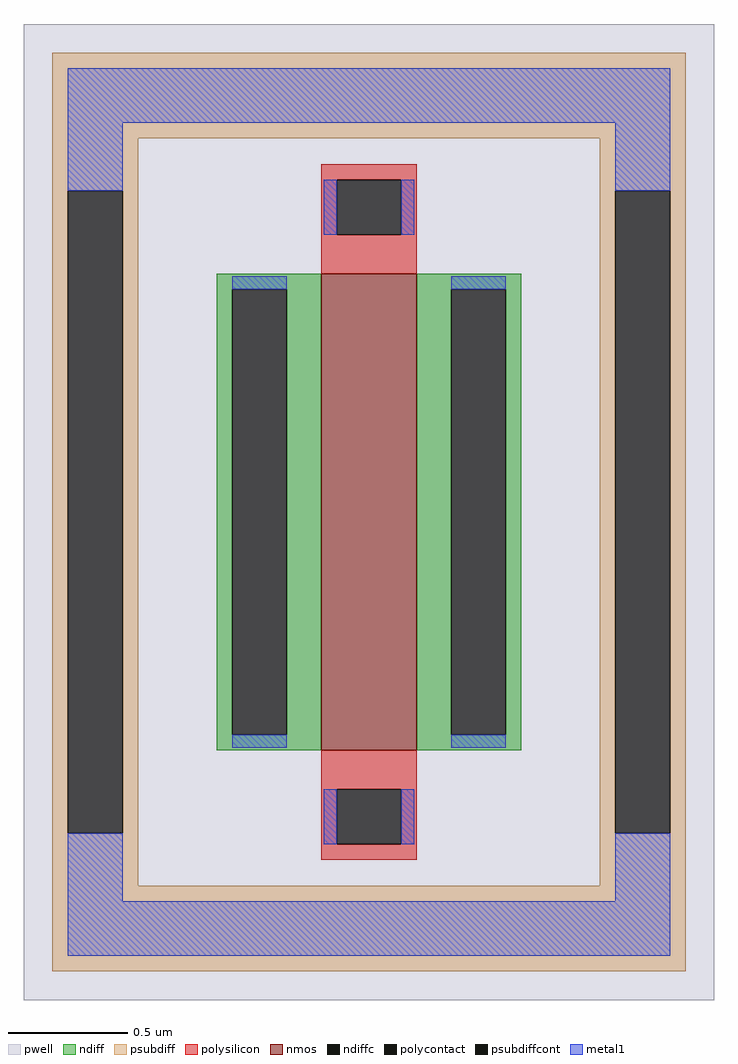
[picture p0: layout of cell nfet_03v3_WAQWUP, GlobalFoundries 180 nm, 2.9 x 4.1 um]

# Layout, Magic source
magic
tech gf180mcuD
magscale 1 10
<< pwell >>
rect -290 -410 290 410
<< nmos >>
rect -40 -200 40 200
<< ndiff >>
rect -128 187 -40 200
rect -128 -187 -115 187
rect -69 -187 -40 187
rect -128 -200 -40 -187
rect 40 187 128 200
rect 40 -187 69 187
rect 115 -187 128 187
rect 40 -200 128 -187
<< ndiffc >>
rect -115 -187 -69 187
rect 69 -187 115 187
<< psubdiff >>
rect -266 314 266 386
rect -266 270 -194 314
rect -266 -270 -253 270
rect -207 -270 -194 270
rect 194 270 266 314
rect -266 -314 -194 -270
rect 194 -270 207 270
rect 253 -270 266 270
rect 194 -314 266 -270
rect -266 -386 266 -314
<< psubdiffcont >>
rect -253 -270 -207 270
rect 207 -270 253 270
<< polysilicon >>
rect -40 279 40 292
rect -40 233 -27 279
rect 27 233 40 279
rect -40 200 40 233
rect -40 -233 40 -200
rect -40 -279 -27 -233
rect 27 -279 40 -233
rect -40 -292 40 -279
<< polycontact >>
rect -27 233 27 279
rect -27 -279 27 -233
<< metal1 >>
rect -253 327 253 373
rect -253 270 -207 327
rect -38 233 -27 279
rect 27 233 38 279
rect 207 270 253 327
rect -115 187 -69 198
rect -115 -198 -69 -187
rect 69 187 115 198
rect 69 -198 115 -187
rect -253 -327 -207 -270
rect -38 -279 -27 -233
rect 27 -279 38 -233
rect 207 -327 253 -270
rect -253 -373 253 -327
<< properties >>
string FIXED_BBOX -230 -350 230 350
string gencell nfet_03v3
string library gf180mcu
string parameters w 2.0 l 0.4 m 1 nf 1 diffcov 100 polycov 100 guard 1 glc 1 grc 1 gtc 0 gbc 0 tbcov 100 rlcov 100 topc 1 botc 1 poverlap 0 doverlap 1 lmin 0.28 wmin 0.22 class mosfet full_metal 1 compatible {nfet_03v3 nfet_06v0 nfet_06v0_nvt}
<< end >>
